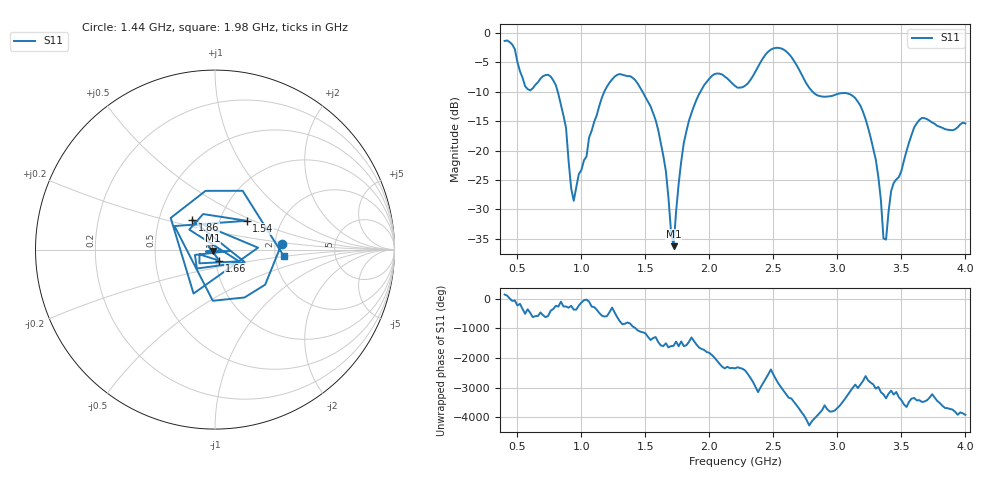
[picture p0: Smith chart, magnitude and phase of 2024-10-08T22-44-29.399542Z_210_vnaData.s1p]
! Created with skrf (http://scikit-rf.org).
# Hz S RI R 50.0
!freq ReS11 ImS11
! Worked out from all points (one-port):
!   181 points, 400 MHz to 4 GHz, reference 50 ohm
!   lowest |S11| = -36.3 dB at 1.72 GHz (marker M1), VSWR 1.03, Z = 48.6 - j0.632 ohm
!   |S11| at or under -10 dB: 815.3 MHz to 1.178 GHz (363.2 MHz wide, 36.4 % of centre); 1.478 GHz to 1.929 GHz (451.4 MHz wide, 26.5 % of centre); 2.808 GHz to end of sweep
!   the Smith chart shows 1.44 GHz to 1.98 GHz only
!   S11 on the Smith chart (normalised r, x): 1.44 GHz: 2.17, +0.15; 1.54 GHz: 1.34, +0.46; 1.66 GHz: 1.04, -0.13; 1.86 GHz: 0.74, +0.25; 1.98 GHz: 2.23, -0.20
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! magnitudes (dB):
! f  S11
! 400 MHz  -1.3
! 480 MHz  -2.7
! 580 MHz  -9.5
! 760 MHz  -7.4
! 860 MHz  -14.1
! 940 MHz  -28.6
! 1.16 GHz  -11.0
! 1.3 GHz  -7.0
! 1.44 GHz  -8.6
! 1.54 GHz  -12.5
! 1.66 GHz  -23.5
! 1.72 GHz  -36.3
! 1.76 GHz  -25.6
! 1.86 GHz  -13.6
! 1.98 GHz  -8.3
! 2.2 GHz  -9.0
! 2.5 GHz  -2.6
! 2.66 GHz  -4.7
! 2.84 GHz  -10.6
! 3.1 GHz  -10.4
! 3.2 GHz  -13.4
! 3.3 GHz  -21.5
! 3.36 GHz  -35.0
! 3.38 GHz  -35.2
! 3.42 GHz  -26.9
! 3.56 GHz  -18.6
! 3.66 GHz  -14.5
! 4 GHz  -15.4
